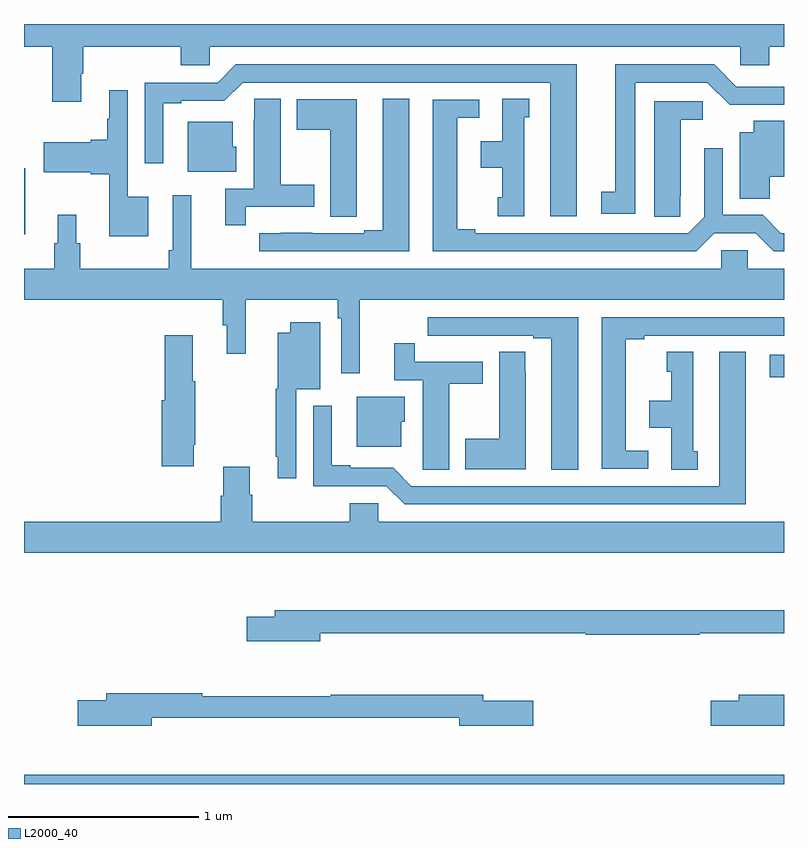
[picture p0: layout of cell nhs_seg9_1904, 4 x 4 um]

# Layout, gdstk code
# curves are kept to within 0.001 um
import gdstk
lib = gdstk.Library(unit=1e-6, precision=1e-09)
def R(c, l, rs):  # rectangles x0, y0, x1, y1
    for r in rs: c.add(gdstk.rectangle(r[:2], r[2:], *l))
def P(c, l, *ps):  # polygons
    for p in ps: c.add(gdstk.Polygon(p, *l))
L2000_40 = (2000, 40)

nhs_seg9_1904 = lib.new_cell('nhs_seg9_1904')
R(nhs_seg9_1904, L2000_40, [(217,1232.5,221,1232.548), (220.926,1234.642,221,1234.758), (217,1235.394,217.006,1235.742)])
P(nhs_seg9_1904, L2000_40, [(217.3,1236.238),(217.313,1236.238),(217.313,1236.38),(217.826,1236.38),(217.826,1236.282),(217.977,1236.282),(217.977,1236.38),(220.77,1236.38),(220.77,1236.282),(220.922,1236.282),(220.922,1236.38),(221,1236.38),(221,1236.5),(217,1236.5),(217,1236.38),(217.148,1236.38),(217.148,1236.09),(217.3,1236.09)],
  [(219.91,1236.288),(218.115,1236.288),(218.019,1236.192),(217.635,1236.192),(217.635,1235.766),(217.732,1235.766),(217.732,1236.084),(217.828,1236.084),(217.828,1236.096),(218.055,1236.096),(218.151,1236.192),(219.77,1236.192),(219.77,1235.487),(219.91,1235.487)],
  [(220.216,1236.192),(220.596,1236.192),(220.714,1236.074),(221,1236.075),(221,1236.171),(220.749,1236.171),(220.632,1236.288),(220.112,1236.288),(220.112,1235.618),(220.038,1235.618),(220.038,1235.502),(220.216,1235.502)],
  [(217.654,1235.59),(217.545,1235.59),(217.545,1236.151),(217.448,1236.151),(217.448,1236.002),(217.437,1236.002),(217.437,1235.891),(217.352,1235.891),(217.352,1235.878),(217.104,1235.878),(217.104,1235.72),(217.352,1235.72),(217.352,1235.708),(217.448,1235.708),(217.448,1235.384),(217.654,1235.384)],
  [(218.168,1235.538),(218.527,1235.538),(218.527,1235.655),(218.35,1235.655),(218.35,1236.107),(218.211,1236.107),(218.211,1235.996),(218.21,1235.996),(218.21,1235.634),(218.06,1235.634),(218.06,1235.442),(218.168,1235.442)],
  [(219.634,1236.009),(219.658,1236.009),(219.658,1236.107),(219.518,1236.107),(219.518,1235.884),(219.404,1235.884),(219.404,1235.744),(219.518,1235.744),(219.518,1235.589),(219.494,1235.589),(219.494,1235.487),(219.634,1235.487)],
  [(219.028,1236.107),(218.888,1236.107),(218.888,1235.415),(218.792,1235.415),(218.792,1235.4),(218.516,1235.4),(218.516,1235.401),(218.35,1235.401),(218.35,1235.4),(218.238,1235.4),(218.238,1235.304),(219.028,1235.304)],
  [(218.751,1235.593),(218.752,1235.593),(218.752,1236.103),(218.435,1236.103),(218.435,1235.944),(218.612,1235.944),(218.612,1235.485),(218.751,1235.485)],
  [(220.633,1235.4),(220.851,1235.4),(220.947,1235.304),(221,1235.304),(221,1235.4),(220.983,1235.4),(220.887,1235.496),(220.677,1235.496),(220.677,1235.845),(220.581,1235.845),(220.581,1235.484),(220.497,1235.4),(219.376,1235.4),(219.376,1235.42),(219.28,1235.42),(219.28,1236.006),(219.397,1236.006),(219.397,1236.102),(219.152,1236.102),(219.152,1235.304),(220.537,1235.304)],
  [(220.455,1235.593),(220.456,1235.593),(220.456,1235.996),(220.573,1235.996),(220.573,1236.093),(220.316,1236.093),(220.316,1235.485),(220.455,1235.485)],
  [(220.924,1235.696),(221,1235.696),(221,1235.99),(220.841,1235.99),(220.841,1235.929),(220.766,1235.929),(220.766,1235.581),(220.924,1235.581)],
  [(218.116,1235.853),(218.098,1235.853),(218.098,1235.986),(217.862,1235.986),(217.862,1235.723),(218.116,1235.723)],
  [(218.768,1235.048),(221,1235.048),(221,1235.212),(220.809,1235.212),(220.809,1235.31),(220.671,1235.31),(220.671,1235.212),(217.88,1235.212),(217.88,1235.599),(217.782,1235.599),(217.782,1235.308),(217.762,1235.308),(217.762,1235.212),(217.295,1235.212),(217.295,1235.346),(217.276,1235.346),(217.276,1235.497),(217.178,1235.497),(217.178,1235.346),(217.159,1235.346),(217.159,1235.212),(217,1235.212),(217,1235.048),(218.047,1235.048),(218.047,1234.914),(218.066,1234.914),(218.066,1234.764),(218.166,1234.764),(218.166,1235.048),(218.65,1235.048),(218.65,1234.952),(218.67,1234.952),(218.67,1234.662),(218.768,1234.662)],
  [(220.285,1234.254),(220.168,1234.254),(220.168,1234.84),(220.264,1234.84),(220.264,1234.86),(221,1234.86),(221,1234.956),(220.04,1234.956),(220.04,1234.158),(220.285,1234.158)],
  [(219.916,1234.956),(219.126,1234.956),(219.126,1234.86),(219.238,1234.86),(219.238,1234.859),(219.404,1234.859),(219.404,1234.86),(219.68,1234.86),(219.68,1234.845),(219.776,1234.845),(219.776,1234.153),(219.916,1234.153)],
  [(218.433,1234.577),(218.56,1234.577),(218.56,1234.93),(218.402,1234.93),(218.402,1234.876),(218.336,1234.876),(218.336,1234.581),(218.325,1234.581),(218.325,1234.222),(218.336,1234.222),(218.336,1234.11),(218.433,1234.11)],
  [(217.894,1234.285),(217.902,1234.285),(217.902,1234.621),(217.888,1234.621),(217.888,1234.861),(217.742,1234.861),(217.742,1234.521),(217.724,1234.521),(217.724,1234.173),(217.894,1234.173)],
  [(219.238,1234.606),(219.415,1234.606),(219.415,1234.722),(219.056,1234.722),(219.056,1234.819),(218.948,1234.819),(218.948,1234.626),(219.098,1234.626),(219.098,1234.264),(219.099,1234.264),(219.099,1234.153),(219.238,1234.153)],
  [(219.64,1234.667),(219.639,1234.667),(219.639,1234.775),(219.5,1234.775),(219.5,1234.317),(219.323,1234.317),(219.323,1234.157),(219.64,1234.157)],
  [(220.546,1234.251),(220.522,1234.251),(220.522,1234.774),(220.382,1234.774),(220.382,1234.671),(220.406,1234.671),(220.406,1234.516),(220.292,1234.516),(220.292,1234.376),(220.406,1234.376),(220.406,1234.153),(220.546,1234.153)],
  [(220.798,1234.774),(220.658,1234.774),(220.658,1234.068),(219.039,1234.068),(218.943,1234.164),(218.716,1234.164),(218.716,1234.177),(218.62,1234.177),(218.62,1234.492),(218.523,1234.492),(218.523,1234.068),(218.907,1234.068),(219.003,1233.972),(220.798,1233.972)],
  [(218.986,1234.407),(219.004,1234.407),(219.004,1234.537),(218.75,1234.537),(218.75,1234.274),(218.986,1234.274)],
  [(221,1233.88),(218.865,1233.88),(218.865,1233.978),(218.714,1233.978),(218.714,1233.88),(218.201,1233.88),(218.201,1234.022),(218.188,1234.022),(218.188,1234.171),(218.048,1234.171),(218.048,1234.017),(218.036,1234.017),(218.036,1233.88),(217,1233.88),(217,1233.716),(221,1233.716)],
  [(218.56,1233.294),(219.956,1233.294),(219.956,1233.286),(220.556,1233.286),(220.556,1233.294),(221,1233.294),(221,1233.415),(218.321,1233.415),(218.321,1233.381),(218.172,1233.381),(218.172,1233.251),(218.56,1233.251)],
  [(217.672,1232.85),(219.29,1232.85),(219.29,1232.807),(219.679,1232.807),(219.679,1232.937),(219.418,1232.937),(219.418,1232.971),(218.614,1232.971),(218.614,1232.963),(217.937,1232.963),(217.937,1232.978),(217.433,1232.978),(217.433,1232.942),(217.284,1232.942),(217.284,1232.807),(217.672,1232.807)],
  [(221,1232.971),(220.763,1232.971),(220.763,1232.937),(220.614,1232.937),(220.614,1232.807),(221,1232.807)])

lib.write_gds('nhs_seg9_1904.gds')
